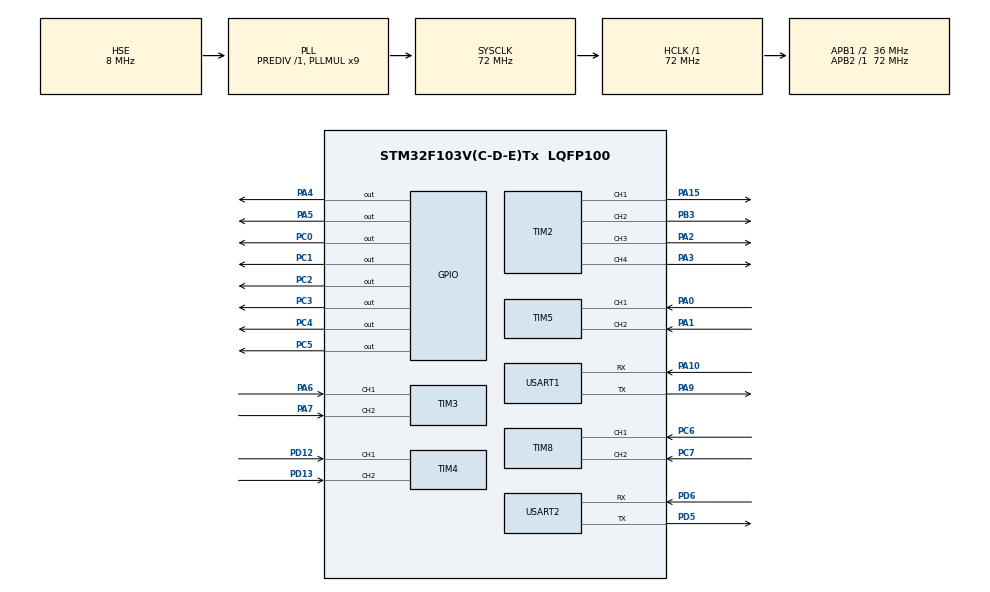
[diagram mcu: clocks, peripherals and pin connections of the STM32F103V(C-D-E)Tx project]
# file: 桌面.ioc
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Dma.Request0=USART1_RX
Dma.Request1=USART2_TX
Dma.USART1_RX.0.Direction=DMA_PERIPH_TO_MEMORY
Dma.USART1_RX.0.Instance=DMA1_Channel5
Dma.USART1_RX.0.MemDataAlignment=DMA_MDATAALIGN_BYTE
Dma.USART1_RX.0.MemInc=DMA_MINC_ENABLE
Dma.USART1_RX.0.Mode=DMA_NORMAL
Dma.USART1_RX.0.PeriphDataAlignment=DMA_PDATAALIGN_BYTE
Dma.USART1_RX.0.PeriphInc=DMA_PINC_DISABLE
Dma.USART1_RX.0.Priority=DMA_PRIORITY_LOW
Dma.USART2_TX.1.Direction=DMA_MEMORY_TO_PERIPH
Dma.USART2_TX.1.Instance=DMA1_Channel7
Dma.USART2_TX.1.MemDataAlignment=DMA_MDATAALIGN_BYTE
Dma.USART2_TX.1.MemInc=DMA_MINC_ENABLE
Dma.USART2_TX.1.Mode=DMA_NORMAL
Dma.USART2_TX.1.PeriphDataAlignment=DMA_PDATAALIGN_BYTE
Dma.USART2_TX.1.PeriphInc=DMA_PINC_DISABLE
Dma.USART2_TX.1.Priority=DMA_PRIORITY_LOW
FREERTOS.Queues01=Motor_Running,16,uint16_t,0,Dynamic,NULL,NULL;Usart_Sending,16,uint16_t,0,Dynamic,NULL,NULL
FREERTOS.Tasks01=defaultTask,24,128,StartDefaultTask,Default,NULL,Dynamic,NULL,NULL;Motor_Run,8,128,StartTask02,Default,NULL,Dynamic,NULL,NULL;Usart_Send,8,128,StartTask03,Default,NULL,Dynamic,NULL,NULL
Mcu.Family=STM32F1
Mcu.Name=STM32F103V(C-D-E)Tx
Mcu.Package=LQFP100
NVIC.DMA1_Channel5_IRQn=true\:5\:0\:false\:false\:true\:true\:false\:true\:true
NVIC.DMA1_Channel7_IRQn=true\:5\:0\:false\:false\:true\:true\:false\:true\:true
NVIC.PriorityGroup=NVIC_PRIORITYGROUP_4
NVIC.TIM1_UP_IRQn=true\:15\:0\:false\:false\:true\:false\:false\:true\:true
NVIC.TimeBase=TIM1_UP_IRQn
NVIC.TimeBaseIP=TIM1
NVIC.USART1_IRQn=true\:5\:0\:false\:false\:true\:true\:true\:true\:true
NVIC.USART2_IRQn=true\:5\:0\:false\:false\:true\:true\:false\:true\:true
OSC_IN.Mode=HSE-External-Oscillator
OSC_IN.Signal=RCC_OSC_IN
OSC_OUT.Mode=HSE-External-Oscillator
OSC_OUT.Signal=RCC_OSC_OUT
PA0-WKUP.Signal=S_TIM5_CH1
PA1.Signal=S_TIM5_CH2
PA10.Mode=Asynchronous
PA10.Signal=USART1_RX
PA13.Mode=Serial_Wire
PA13.Signal=SYS_JTMS-SWDIO
PA14.Mode=Serial_Wire
PA14.Signal=SYS_JTCK-SWCLK
PA15.Signal=S_TIM2_CH1_ETR
PA2.Signal=S_TIM2_CH3
PA3.Signal=S_TIM2_CH4
PA4.Signal=GPIO_Output
PA5.Signal=GPIO_Output
PA6.Signal=S_TIM3_CH1
PA7.Signal=S_TIM3_CH2
PA9.Mode=Asynchronous
PA9.Signal=USART1_TX
PB3.Signal=S_TIM2_CH2
PC0.Signal=GPIO_Output
PC1.Signal=GPIO_Output
PC2.Signal=GPIO_Output
PC3.Signal=GPIO_Output
PC4.Signal=GPIO_Output
PC5.Signal=GPIO_Output
PC6.Signal=S_TIM8_CH1
PC7.Signal=S_TIM8_CH2
PD12.Signal=S_TIM4_CH1
PD13.Signal=S_TIM4_CH2
PD5.Mode=Asynchronous
PD5.Signal=USART2_TX
PD6.Mode=Asynchronous
PD6.Signal=USART2_RX
ProjectManager.HeapSize=0x200
ProjectManager.StackSize=0x400
ProjectManager.TargetToolchain=CMake
RCC.AHBFreq_Value=72000000
RCC.APB1CLKDivider=RCC_HCLK_DIV2
RCC.APB1Freq_Value=36000000
RCC.APB1TimFreq_Value=72000000
RCC.APB2Freq_Value=72000000
RCC.APB2TimFreq_Value=72000000
RCC.HCLKFreq_Value=72000000
RCC.PLLMUL=RCC_PLL_MUL9
RCC.PLLSourceVirtual=RCC_PLLSOURCE_HSE
RCC.SYSCLKFreq_VALUE=72000000
RCC.SYSCLKSource=RCC_SYSCLKSOURCE_PLLCLK
RCC.USBFreq_Value=72000000
SH.S_TIM2_CH1_ETR.0=TIM2_CH1,PWM Generation1 CH1
SH.S_TIM2_CH2.0=TIM2_CH2,PWM Generation2 CH2
SH.S_TIM2_CH3.0=TIM2_CH3,PWM Generation3 CH3
SH.S_TIM2_CH4.0=TIM2_CH4,PWM Generation4 CH4
SH.S_TIM3_CH1.0=TIM3_CH1,Encoder_Interface
SH.S_TIM3_CH2.0=TIM3_CH2,Encoder_Interface
SH.S_TIM4_CH1.0=TIM4_CH1,Encoder_Interface
SH.S_TIM4_CH2.0=TIM4_CH2,Encoder_Interface
SH.S_TIM5_CH1.0=TIM5_CH1,Encoder_Interface
SH.S_TIM5_CH2.0=TIM5_CH2,Encoder_Interface
SH.S_TIM8_CH1.0=TIM8_CH1,Encoder_Interface
SH.S_TIM8_CH2.0=TIM8_CH2,Encoder_Interface
TIM2.Channel-PWM\ Generation1\ CH1=TIM_CHANNEL_1
TIM2.Channel-PWM\ Generation2\ CH2=TIM_CHANNEL_2
TIM2.Channel-PWM\ Generation3\ CH3=TIM_CHANNEL_3
TIM2.Channel-PWM\ Generation4\ CH4=TIM_CHANNEL_4
USART1.VirtualMode=VM_ASYNC
USART2.VirtualMode=VM_ASYNC
VP_FREERTOS_VS_CMSIS_V2.Mode=CMSIS_V2
VP_SYS_VS_tim1.Mode=TIM1
VP_TIM2_VS_ClockSourceITR.Mode=TriggerSource_ITR0
VP_TIM2_VS_ControllerModeClock.Mode=Clock Mode
board=custom

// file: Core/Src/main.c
/* USER CODE BEGIN Header */
/**
  ******************************************************************************
  * @file           : main.c
  * @brief          : Main program body
  ******************************************************************************
  * @attention
  *
  * Copyright (c) 2026 STMicroelectronics.
  * All rights reserved.
  *
  * This software is licensed under terms that can be found in the LICENSE file
  * in the root directory of this software component.
  * If no LICENSE file comes with this software, it is provided AS-IS.
  *
  ******************************************************************************
  */
/* USER CODE END Header */
#include "main.h"
#include "cmsis_os.h"
#include "dma.h"
#include "encoder.h"
#include "tim.h"
#include "usart.h"
#include "gpio.h"

/* USER CODE BEGIN Includes */

#include "motor.h"

/* USER CODE END Includes */

void SystemClock_Config(void);
void MX_FREERTOS_Init(void);

int main(void)
{

  /* MCU Configuration--------------------------------------------------------*/

  /* Reset of all peripherals, Initializes the Flash interface and the Systick. */
  HAL_Init();

  /* Configure the system clock */
  SystemClock_Config();

  /* Initialize all configured peripherals */
  MX_GPIO_Init();
  MX_DMA_Init();
  MX_TIM2_Init();
  MX_TIM3_Init();
  MX_TIM4_Init();
  MX_TIM5_Init();
  MX_TIM8_Init();
  MX_USART1_UART_Init();
  MX_USART2_UART_Init();
  /* USER CODE BEGIN 2 */

  MotorConfig_t motorConfig[MOTOR_COUNT];
  EncoderConfig_t encoderConfig[ENCODER_COUNT];
  Motor_GetDefaultConfig(motorConfig);
  Motor_Init(motorConfig);
  Encoder_GetDefaultConfig(encoderConfig);
  Encoder_Init(encoderConfig);
  Motor_AllStop();

  /* USER CODE END 2 */

  /* Init scheduler */
  osKernelInitialize();  /* Call init function for freertos objects (in cmsis_os2.c) */
  MX_FREERTOS_Init();

  /* Start scheduler */
  osKernelStart();

  /* We should never get here as control is now taken by the scheduler */

  /* Infinite loop */
  while (1)
  {

  }
}

void SystemClock_Config(void)
{
  RCC_OscInitTypeDef RCC_OscInitStruct = {0};
  RCC_ClkInitTypeDef RCC_ClkInitStruct = {0};

  /** Initializes the RCC Oscillators according to the specified parameters
  * in the RCC_OscInitTypeDef structure.
  */
  RCC_OscInitStruct.OscillatorType = RCC_OSCILLATORTYPE_HSE;
  RCC_OscInitStruct.HSEState = RCC_HSE_ON;
  RCC_OscInitStruct.HSEPredivValue = RCC_HSE_PREDIV_DIV1;
  RCC_OscInitStruct.HSIState = RCC_HSI_ON;
  RCC_OscInitStruct.PLL.PLLState = RCC_PLL_ON;
  RCC_OscInitStruct.PLL.PLLSource = RCC_PLLSOURCE_HSE;
  RCC_OscInitStruct.PLL.PLLMUL = RCC_PLL_MUL9;
  if (HAL_RCC_OscConfig(&RCC_OscInitStruct) != HAL_OK)
  {
    Error_Handler();
  }

  /** Initializes the CPU, AHB and APB buses clocks
  */
  RCC_ClkInitStruct.ClockType = RCC_CLOCKTYPE_HCLK|RCC_CLOCKTYPE_SYSCLK
                              |RCC_CLOCKTYPE_PCLK1|RCC_CLOCKTYPE_PCLK2;
  RCC_ClkInitStruct.SYSCLKSource = RCC_SYSCLKSOURCE_PLLCLK;
  RCC_ClkInitStruct.AHBCLKDivider = RCC_SYSCLK_DIV1;
  RCC_ClkInitStruct.APB1CLKDivider = RCC_HCLK_DIV2;
  RCC_ClkInitStruct.APB2CLKDivider = RCC_HCLK_DIV1;

  if (HAL_RCC_ClockConfig(&RCC_ClkInitStruct, FLASH_LATENCY_2) != HAL_OK)
  {
    Error_Handler();
  }
}

void HAL_TIM_PeriodElapsedCallback(TIM_HandleTypeDef *htim)
{
  if (htim->Instance == TIM1)
  {
    HAL_IncTick();
  }
}

void Error_Handler(void)
{
  __disable_irq();
  while (1)
  {
  }
}

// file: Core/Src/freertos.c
/* USER CODE BEGIN Header */
/**
  ******************************************************************************
  * File Name          : freertos.c
  * Description        : Code for freertos applications
  ******************************************************************************
  * @attention
  *
  * Copyright (c) 2026 STMicroelectronics.
  * All rights reserved.
  *
  * This software is licensed under terms that can be found in the LICENSE file
  * in the root directory of this software component.
  * If no LICENSE file comes with this software, it is provided AS-IS.
  *
  ******************************************************************************
  */
/* USER CODE END Header */

#include "FreeRTOS.h"
#include "task.h"
#include "main.h"
#include "cmsis_os.h"
#include "usart.h"

/* USER CODE BEGIN Includes */

#include "pid_velocity.h"

#include <stdio.h>
#include <string.h>

/* USER CODE END Includes */

/* Definitions for defaultTask */
osThreadId_t defaultTaskHandle;
const osThreadAttr_t defaultTask_attributes = {
  .name = "defaultTask",
  .stack_size = 128 * 4,
  .priority = (osPriority_t) osPriorityNormal,
};
/* Definitions for Motor_Run */
osThreadId_t Motor_RunHandle;
const osThreadAttr_t Motor_Run_attributes = {
  .name = "Motor_Run",
  .stack_size = 128 * 4,
  .priority = (osPriority_t) osPriorityLow,
};
/* Definitions for Usart_Send */
osThreadId_t Usart_SendHandle;
const osThreadAttr_t Usart_Send_attributes = {
  .name = "Usart_Send",
  .stack_size = 128 * 4,
  .priority = (osPriority_t) osPriorityLow,
};
/* Definitions for Motor_Running */
osMessageQueueId_t Motor_RunningHandle;
const osMessageQueueAttr_t Motor_Running_attributes = {
  .name = "Motor_Running"
};
/* Definitions for Usart_Sending */
osMessageQueueId_t Usart_SendingHandle;
const osMessageQueueAttr_t Usart_Sending_attributes = {
  .name = "Usart_Sending"
};

void StartDefaultTask(void *argument);
void StartTask02(void *argument);
void StartTask03(void *argument);

void MX_FREERTOS_Init(void); /* (MISRA C 2004 rule 8.1) */

void MX_FREERTOS_Init(void) {

  /* Create the queue(s) */
  /* creation of Motor_Running */
  Motor_RunningHandle = osMessageQueueNew (16, sizeof(uint16_t), &Motor_Running_attributes);
  if (Motor_RunningHandle == NULL)
  {
    Error_Handler();
  }

  /* creation of Usart_Sending */
  Usart_SendingHandle = osMessageQueueNew (16, sizeof(UsartCommandMessage_t), &Usart_Sending_attributes);
  if (Usart_SendingHandle == NULL)
  {
    Error_Handler();
  }

  /* Create the thread(s) */
  /* creation of defaultTask */
  defaultTaskHandle = osThreadNew(StartDefaultTask, NULL, &defaultTask_attributes);
  if (defaultTaskHandle == NULL)
  {
    Error_Handler();
  }

  /* creation of Motor_Run */
  Motor_RunHandle = osThreadNew(StartTask02, NULL, &Motor_Run_attributes);
  if (Motor_RunHandle == NULL)
  {
    Error_Handler();
  }

  /* creation of Usart_Send */
  Usart_SendHandle = osThreadNew(StartTask03, NULL, &Usart_Send_attributes);
  if (Usart_SendHandle == NULL)
  {
    Error_Handler();
  }

}

void StartDefaultTask(void *argument)
{
  /* USER CODE BEGIN StartDefaultTask */
  /* Infinite loop */
  for(;;)
  {
    USART1_PollAndProcessPendingFrame();
    osDelay(1);
  }
  /* USER CODE END StartDefaultTask */
}

void StartTask02(void *argument)
{
  /* USER CODE BEGIN StartTask02 */
  PIDVelocityConfig_t pidConfig[PID_VELOCITY_COUNT];
  PIDVelocity_GetDefaultConfig(pidConfig);
  PIDVelocity_Init(pidConfig);
  PIDVelocity_ResetAll();

  const uint32_t controlPeriodMs = 10U;

  /* Infinite loop */
  for(;;)
  {
    PIDVelocity_RunStep();
    osDelay(controlPeriodMs);
  }
  /* USER CODE END StartTask02 */
}

void StartTask03(void *argument)
{
  /* USER CODE BEGIN StartTask03 */
  UsartCommandMessage_t rx_msg;
  UsartCommandMessage_t latest_msg;

  /* Infinite loop */
  for(;;)
  {
    if (osMessageQueueGet(Usart_SendingHandle, &rx_msg, NULL, osWaitForever) == osOK)
    {
      size_t tx_len;

      latest_msg = rx_msg;

      /* Drop backlog and keep only the newest command for USART2 forwarding. */
      while (osMessageQueueGet(Usart_SendingHandle, &rx_msg, NULL, 0U) == osOK)
      {
        latest_msg = rx_msg;
      }

      tx_len = strnlen(latest_msg.text, sizeof(latest_msg.text));

      if (tx_len > 0U)
      {
        (void)HAL_UART_Transmit(&huart2, (uint8_t *)latest_msg.text, (uint16_t)tx_len, 100U);
      }
    }
  }
  /* USER CODE END StartTask03 */
}
